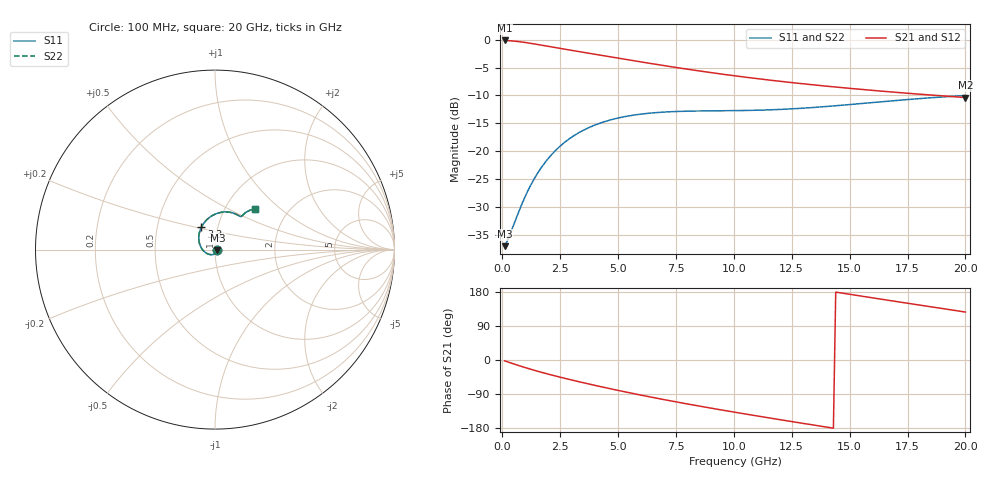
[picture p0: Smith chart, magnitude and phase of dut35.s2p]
! Touchstone file exported from HFSS 2023.1.0
!  File:  D:/Users/fzz/RDL_TSV/temp_RDL_TSV_35_1778744463.aedt
!  Generated:  3:49:49 %x4E0B%x5348  5%x6708 14, 2026
!  Design:  RDL_TSV
!  Project:  temp_RDL_TSV_35_1778744463
!  Setup:  Setup1
!  Solution:  Sweep
! Variables:
!  dtsv = 15.22um
!  hbump = 3um
!  htsv = 77.59um
!  ldown = 464um
!  lrdl = 462.99um
!  p = 40
!  p1 = 47.02um
!  rhole = 10um
!  subl = 3243.96um
!  t = 450um
!  tdown = 4.68um
!  trdl = 3.53um
!  viad = 10um
!  wdown = 27.2um
!  wrdl = 20.04um
!  xbump = 18um
# GHz S MA R 50.000000
! Terminal data exported
! Port[1] = TM1_1_T1
! Port[2] = TM1_4_T1
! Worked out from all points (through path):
!   200 points, 100 MHz to 20 GHz, reference 50 ohm
!   highest |S21| = -0.13 dB at 100 MHz (marker M1); lowest = -10.4 dB at 20 GHz (marker M2)
!   group delay of S21, straight-line fit = 30.7 ps
!   lowest |S11| = -37.0 dB at 100 MHz (marker M3), VSWR 1.03, Z = 51.4 - j0.43 ohm
!   |S11| at or under -10 dB: start of sweep to end of sweep
!   |S22| runs from -37.0 to -10.0 dB; largest |S21 - S12| = 9e-15
!   S11 on the Smith chart (normalised r, x): 100 MHz: 1.03, -0.01; 3.3 GHz: 0.83, +0.21; 20 GHz: 1.38, +0.68
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0.1  0.01405 -17.3  0.9856 -2.2  0.9856 -2.2  0.01405 -17.4
! Gamma 0 0 0 0
! Port Impedance 50 0 50 0
0.3  0.01724 -52.7  0.9804 -6.4  0.9804 -6.4  0.01725 -52.7
0.5  0.0221 -83.1  0.9727 -10.5  0.9727 -10.5  0.02211 -83.1
1  0.03967 -136.4  0.9445 -20.2  0.9445 -20.2  0.03968 -136.4
1.3  0.05282 -158.8  0.9236 -25.7  0.9236 -25.7  0.05283 -158.8
1.6  0.06708 -176.9  0.9015 -31.0  0.9015 -31.0  0.06709 -176.8
2  0.0868 163.7  0.872 -37.6  0.872 -37.6  0.0868 163.7
2.4  0.1063 147.9  0.8433 -43.9  0.8433 -43.9  0.1063 148.0
3.3  0.1463 121.2  0.7835 -57.2  0.7835 -57.2  0.1463 121.3
3.5  0.1541 116.5  0.771 -60.0  0.771 -60.0  0.1541 116.5
4.2  0.1779 102.1  0.7289 -69.7  0.7289 -69.7  0.1779 102.1
5  0.1985 89.1  0.6839 -80.3  0.6839 -80.3  0.1985 89.1
5.9  0.214 77.7  0.637 -91.6  0.637 -91.6  0.214 77.8
6.8  0.2231 69.1  0.5943 -102.4  0.5943 -102.4  0.2232 69.1
8.4  0.2294 58.9  0.5288 -120.5  0.5288 -120.5  0.2295 58.9
10.1  0.2312 53.5  0.4728 -138.4  0.4728 -138.4  0.2314 53.5
11.7  0.2356 51.7  0.4306 -154.6  0.4306 -154.6  0.2358 51.7
13.4  0.2464 51.2  0.3944 -171.3  0.3944 -171.3  0.2467 51.2
15  0.262 50.7  0.3663 173.4  0.3663 173.4  0.2623 50.7
16.7  0.2815 49.5  0.3414 157.3  0.3414 157.3  0.2818 49.5
18.4  0.3006 47.5  0.3202 141.4  0.3202 141.4  0.3009 47.4
20  0.3159 45.1  0.3031 126.6  0.3031 126.6  0.3163 45.1
